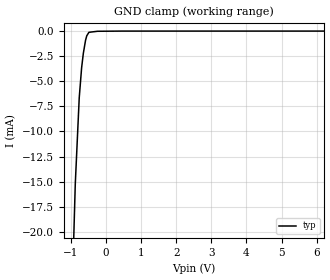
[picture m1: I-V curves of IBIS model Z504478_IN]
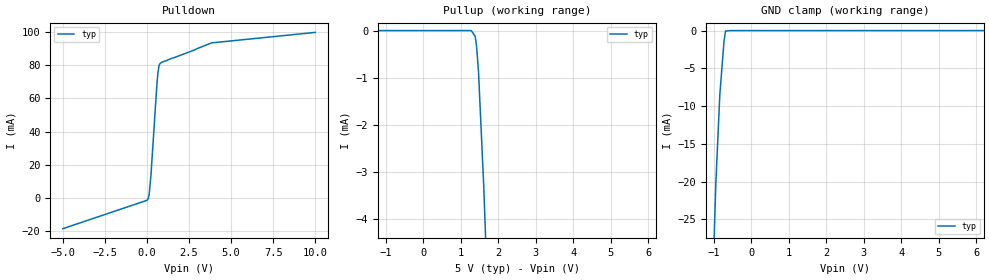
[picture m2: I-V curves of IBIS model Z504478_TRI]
| YOU ARE ONLY AUTHORIZED TO USE THIS SOFTWARE
| ACCORDING TO LICENSOR'S LICENSE RESTRICTIONS.
[IBIS Ver] 3.1
[File Name] sn54ls795j.ibs
[File Rev] 2.0
[Source] Measured and created by ICX Technology
[Date] Friday 7/14/00 9:08:15 AM
[Copyright]
| (C) COPYRIGHT 1993-2000
| MENTOR GRAPHICS CORPORATION
| ICX STANDARD LIBRARY, ICX PROJECT MODELING,
| ICX CUSTOM MODELING, ICX VENDOR MODEL
| ALL RIGHTS RESERVED.
| THE FOLLOWING ARE TRADEMARKS OR SERVICE MARKS OF
| MENTOR GRAPHICS CORPORATION:ICX (R), ICX STANDARD
| LIBRARY(R), ICX PROJECT MODELING(R), ICX CUSTOM
| MODELING(R), qualityIBIS(TM), MODELVIEWER(TM),
| AND MODELEDITOR(TM)
| ALL COPIES OF SOFTWARE, INCLUDING BUT NOT LIMITED TO
| ANY MODIFICATIONS, ENHANCEMENTS OR DERIVATIVE WORKS,
| MUST CONTAIN ALL MENTOR GRAPHICS CORPORATION'S
| NOTICES AND LEGENDS, INCLUDING THOSE EMBEDDED IN
| SOFTWARE AND THOSE AFFIXED TO SOFTWARE MEDIUM
| AND CONTAINER, AS RECEIVED FROM MENTOR GRAPHICS
| CORPORATION.
|  ZAP Model Builder 2.7
[Component] SN54LS795J
[Manufacturer] OnSemiconductor
[Package]
| variable   typ   min   max
R_pkg  .216ohms NA NA
L_pkg  5.76nH NA NA
C_pkg  2.193pF NA NA
[Pin] signal_name  model_name  R_pin  L_pin C_pin
1 G1 Z504478_IN .232 9.76n 3.179p
2 A1 Z504478_IN .224 7.26n 2.686p
3 Y1 Z504478_TRI .216 5.26n 2.193p
4 A2 Z504478_IN .208 3.76n 1.7p
5 Y2 Z504478_TRI .2 2.76n 1.207p
6 A3 Z504478_IN .2 2.76n 1.207p
7 Y3 Z504478_TRI .208 3.76n 1.7p
8 A4 Z504478_IN .216 5.26n 2.193p
9 Y4 Z504478_TRI .224 7.26n 2.686p
10 GND GND .232 9.76n 3.179p
11 Y5 Z504478_TRI .232 9.76n 3.179p
12 A5 Z504478_IN .224 7.26n 2.686p
13 Y6 Z504478_TRI .216 5.26n 2.193p
14 A6 Z504478_IN .208 3.76n 1.7p
15 Y7 Z504478_TRI .2 2.76n 1.207p
16 A7 Z504478_IN .2 2.76n 1.207p
17 Y8 Z504478_TRI .208 3.76n 1.7p
18 A8 Z504478_IN .216 5.26n 2.193p
19 _G2 Z504478_IN .224 7.26n 2.686p
20 VCC POWER .232 9.76n 3.179p
| Models and submodels in the file (2): Z504478_IN (Input), Z504478_TRI (3-state)
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| (C) COPYRIGHT 1993-2000
| MENTOR GRAPHICS CORPORATION
| ICX STANDARD LIBRARY, ICX PROJECT MODELING,
| ICX CUSTOM MODELING, ICX VENDOR MODEL
| ALL RIGHTS RESERVED.
| THE FOLLOWING ARE TRADEMARKS OR SERVICE MARKS OF
| MENTOR GRAPHICS CORPORATION:ICX (R), ICX STANDARD
| LIBRARY(R), ICX PROJECT MODELING(R), ICX CUSTOM
| MODELING(R), qualityIBIS(TM), MODELVIEWER(TM),
| AND MODELEDITOR(TM)
| ALL COPIES OF SOFTWARE, INCLUDING BUT NOT LIMITED TO
| ANY MODIFICATIONS, ENHANCEMENTS OR DERIVATIVE WORKS,
| MUST CONTAIN ALL MENTOR GRAPHICS CORPORATION'S
| NOTICES AND LEGENDS, INCLUDING THOSE EMBEDDED IN
| SOFTWARE AND THOSE AFFIXED TO SOFTWARE MEDIUM
| AND CONTAINER, AS RECEIVED FROM MENTOR GRAPHICS
| CORPORATION.
| Model Application Version 1.89 2/18/99.
[Model] Z504478_IN
Model_type Input
Vinl = 800.0mV
Vinh = 2.000V
C_comp 4.000pF NA NA
| variable typ   min   max
[Voltage Range] 5.000V NA NA
[GND Clamp Reference] 0.000V NA NA
[POWER Clamp Reference] 5.000V NA NA
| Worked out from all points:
|   GND clamp passes 1 mA (typ) near -0.59 V on its own axis
[GND Clamp]
-5V       -520.9mA   NA         NA
-873.9mV  -15.25mA   NA         NA
-761.5mV  -6.651mA   NA         NA
-693.4mV  -3.648mA   NA         NA
-644.5mV  -2.213mA   NA         NA
-581mV    -898.6uA   NA         NA
-546.6mV  -461.5uA   NA         NA
-485.6mV  -116.6uA   NA         NA
-242.8mV  -12.88uA   NA         NA
468.7mV   6.449uA    NA         NA
10V       6.449uA    NA         NA
[POWER Clamp]
-5V       0A         NA         NA
10V       0A         NA         NA
| (C) COPYRIGHT 1993-2000
| MENTOR GRAPHICS CORPORATION
| ICX STANDARD LIBRARY, ICX PROJECT MODELING,
| ICX CUSTOM MODELING, ICX VENDOR MODEL
| ALL RIGHTS RESERVED.
| THE FOLLOWING ARE TRADEMARKS OR SERVICE MARKS OF
| MENTOR GRAPHICS CORPORATION:ICX (R), ICX STANDARD
| LIBRARY(R), ICX PROJECT MODELING(R), ICX CUSTOM
| MODELING(R), qualityIBIS(TM), MODELVIEWER(TM),
| AND MODELEDITOR(TM)
| ALL COPIES OF SOFTWARE, INCLUDING BUT NOT LIMITED TO
| ANY MODIFICATIONS, ENHANCEMENTS OR DERIVATIVE WORKS,
| MUST CONTAIN ALL MENTOR GRAPHICS CORPORATION'S
| NOTICES AND LEGENDS, INCLUDING THOSE EMBEDDED IN
| SOFTWARE AND THOSE AFFIXED TO SOFTWARE MEDIUM
| AND CONTAINER, AS RECEIVED FROM MENTOR GRAPHICS
| CORPORATION.
| Model Application Version 1.89 2/18/99.
[Model] Z504478_TRI
Model_type 3-state
Vref=588.0mV
Rref=588.5ohms
Cref=45.00pF
Vmeas=1.300V
C_comp 8.000pF NA NA
| variable typ   min   max
[Voltage Range] 5.000V NA NA
[POWER Clamp Reference] 5.000V NA NA
[Pullup Reference] 5.000V NA NA
[Pulldown Reference] 0.000V NA NA
[GND Clamp Reference] 0.000V NA NA
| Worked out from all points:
|   slope of the pulldown table from 0 to 0.75 V, typ, clamps not added: 9.15 ohm
|   GND clamp passes 1 mA (typ) near -0.71 V on its own axis
[GND Clamp]
-5V       -896.2mA   NA         NA
-1.094V   -44.91mA   NA         NA
-941.8mV  -20.36mA   NA         NA
-834.6mV  -8.498mA   NA         NA
-723.1mV  -1.41mA    NA         NA
-683.1mV  -60.56uA   NA         NA
-546.5mV  0A         NA         NA
10V       0A         NA         NA
[Pulldown]
-5V       -18.54mA   NA         NA
9.804mV   -1.404mA   NA         NA
68.36mV   -483.5uA   NA         NA
128.3mV   2.136mA    NA         NA
234.3mV   13.91mA    NA         NA
591.2mV   69.2mA     NA         NA
644.5mV   75.28mA    NA         NA
703.1mV   79.21mA    NA         NA
740.7mV   80.42mA    NA         NA
797.3mV   81.29mA    NA         NA
3.838V    93.48mA    NA         NA
10V       99.8mA     NA         NA
[Pullup]
-5V       1.504uA    NA         NA
1.282V    1.504uA    NA         NA
1.382V    -117.4uA   NA         NA
1.421V    -317.2uA   NA         NA
1.474V    -878.4uA   NA         NA
1.611V    -3.264mA   NA         NA
10V       -186mA     NA         NA
[POWER Clamp]
-5V       0A         NA         NA
10V       0A         NA         NA
[Ramp]
| variable typ min max
dV/dt_r 1.899/8.957n NA NA
dV/dt_f 1.899/2.752n NA NA
R_load = 500.0Ohms
